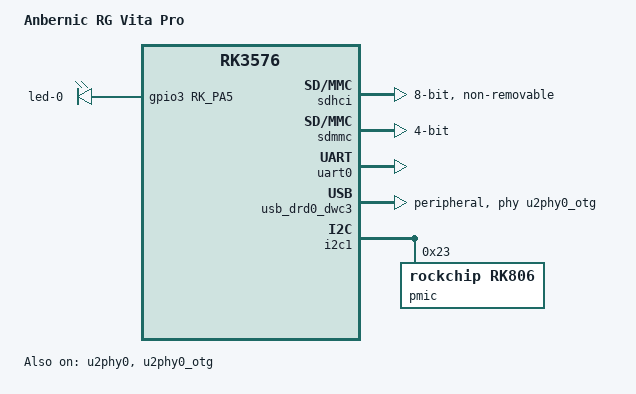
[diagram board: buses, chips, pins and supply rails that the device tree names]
// SPDX-License-Identifier: (GPL-2.0+ OR MIT)
/*
 * Minimal RK3576 DT for the Anbernic RG Vita Pro, cloned from
 * rk3576-generic.dts with the RK806 PMIC added so U-Boot SPL can
 * read its power-on cause and shut back down on a bare charger
 * plug-in (CONFIG_ROCKCHIP_RK8XX_DISABLE_BOOT_ON_POWERON), and the
 * green power LED so it lights as soon as U-Boot proper runs.
 */

/dts-v1/;

#include <dt-bindings/gpio/gpio.h>
#include <dt-bindings/pinctrl/rockchip.h>
#include "rk3576.dtsi"

/ {
	model = "Anbernic RG Vita Pro";
	compatible = "anbernic,rg-vita-pro", "rockchip,rk3576";

	aliases {
		mmc0 = &sdhci;
		mmc1 = &sdmmc;
	};

	chosen {
		stdout-path = "serial0:1500000n8";
	};

	leds {
		compatible = "gpio-leds";
		pinctrl-names = "default";
		pinctrl-0 = <&led_green_h>;

		led-0 {
			gpios = <&gpio3 RK_PA5 GPIO_ACTIVE_HIGH>;
			default-state = "on";
		};
	};
};

&pinctrl {
	leds {
		led_green_h: led-green-h {
			rockchip,pins = <3 RK_PA5 RK_FUNC_GPIO &pcfg_pull_none>;
		};
	};
};

&sdhci {
	bus-width = <8>;
	cap-mmc-highspeed;
	mmc-hs200-1_8v;
	no-sd;
	no-sdio;
	non-removable;
	status = "okay";
};

&sdmmc {
	bus-width = <4>;
	cap-sd-highspeed;
	disable-wp;
	no-mmc;
	no-sdio;
	status = "okay";
};

&u2phy0 {
	status = "okay";
};

&u2phy0_otg {
	status = "okay";
};

&uart0 {
	pinctrl-0 = <&uart0m0_xfer>;
	status = "okay";
};

&usb_drd0_dwc3 {
	dr_mode = "peripheral";
	maximum-speed = "high-speed";
	phys = <&u2phy0_otg>;
	phy-names = "usb2-phy";
	status = "okay";
};

&i2c1 {
	status = "okay";

	pmic: pmic@23 {
		compatible = "rockchip,rk806";
		reg = <0x23>;
		system-power-controller;

		/*
		 * No regulator children: the rkbin TPL blob already
		 * programs every rail before U-Boot proper runs. This
		 * node exists only so the RK8XX PMIC driver binds and
		 * probes, letting it read the power-on cause register.
		 */
		pmic_regulators: regulators {
		};
	};
};
